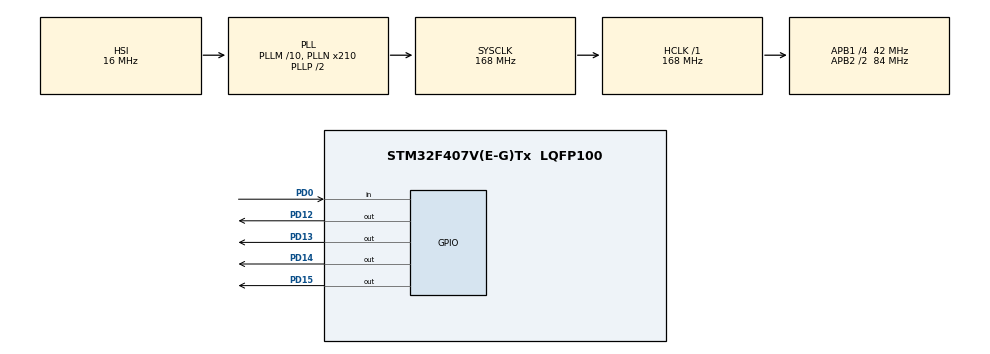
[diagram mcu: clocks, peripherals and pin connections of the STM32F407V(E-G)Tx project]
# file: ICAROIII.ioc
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FREERTOS.INCLUDE_uxTaskGetStackHighWaterMark=1
FREERTOS.Tasks01=defaultTask,0,128,StartDefaultTask
FREERTOS.configMAX_PRIORITIES=32
FREERTOS.configUSE_TIMERS=1
Mcu.Family=STM32F4
Mcu.Name=STM32F407V(E-G)Tx
Mcu.Package=LQFP100
NVIC.PriorityGroup=NVIC_PRIORITYGROUP_4
PD0.Signal=GPIO_Input
PD12.Signal=GPIO_Output
PD13.Signal=GPIO_Output
PD14.Signal=GPIO_Output
PD15.Signal=GPIO_Output
ProjectManager.TargetToolchain=MDK-ARM V5
RCC.48MHZClocksFreq_Value=84000000
RCC.AHBFreq_Value=168000000
RCC.APB1CLKDivider=RCC_HCLK_DIV4
RCC.APB1Freq_Value=42000000
RCC.APB1TimCLKDivider=1
RCC.APB1TimFreq_Value=42000000
RCC.APB2CLKDivider=RCC_HCLK_DIV2
RCC.APB2Freq_Value=84000000
RCC.APB2TimCLKDivider=1
RCC.APB2TimFreq_Value=84000000
RCC.CortexFreq_Value=168000000
RCC.HCLKFreq_Value=168000000
RCC.HSE_VALUE=25000000
RCC.HSI_VALUE=16000000
RCC.LSE_VALUE=32768
RCC.PLLM=10
RCC.PLLN=210
RCC.SYSCLKFreq_VALUE=168000000
RCC.SYSCLKSource=RCC_SYSCLKSOURCE_PLLCLK
RCC.VCOOutputFreq_Value=336000000
VP_FREERTOS_VS_ENABLE.Mode=Enabled
board=ICAROIII

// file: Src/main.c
/**
  ******************************************************************************
  * File Name          : main.c
  * Description        : Main program body
  ******************************************************************************
  *
  * COPYRIGHT(c) 2020 STMicroelectronics
  *
  * Redistribution and use in source and binary forms, with or without modification,
  * are permitted provided that the following conditions are met:
  *   1. Redistributions of source code must retain the above copyright notice,
  *      this list of conditions and the following disclaimer.
  *   2. Redistributions in binary form must reproduce the above copyright notice,
  *      this list of conditions and the following disclaimer in the documentation
  *      and/or other materials provided with the distribution.
  *   3. Neither the name of STMicroelectronics nor the names of its contributors
  *      may be used to endorse or promote products derived from this software
  *      without specific prior written permission.
  *
  * THIS SOFTWARE IS PROVIDED BY THE COPYRIGHT HOLDERS AND CONTRIBUTORS "AS IS"
  * AND ANY EXPRESS OR IMPLIED WARRANTIES, INCLUDING, BUT NOT LIMITED TO, THE
  * IMPLIED WARRANTIES OF MERCHANTABILITY AND FITNESS FOR A PARTICULAR PURPOSE ARE
  * DISCLAIMED. IN NO EVENT SHALL THE COPYRIGHT HOLDER OR CONTRIBUTORS BE LIABLE
  * FOR ANY DIRECT, INDIRECT, INCIDENTAL, SPECIAL, EXEMPLARY, OR CONSEQUENTIAL
  * DAMAGES (INCLUDING, BUT NOT LIMITED TO, PROCUREMENT OF SUBSTITUTE GOODS OR
  * SERVICES; LOSS OF USE, DATA, OR PROFITS; OR BUSINESS INTERRUPTION) HOWEVER
  * CAUSED AND ON ANY THEORY OF LIABILITY, WHETHER IN CONTRACT, STRICT LIABILITY,
  * OR TORT (INCLUDING NEGLIGENCE OR OTHERWISE) ARISING IN ANY WAY OUT OF THE USE
  * OF THIS SOFTWARE, EVEN IF ADVISED OF THE POSSIBILITY OF SUCH DAMAGE.
  *
  ******************************************************************************
  */
#include "stm32f4xx_hal.h"
#include "cmsis_os.h"

osThreadId defaultTaskHandle;

/* USER CODE BEGIN PV */
/* Private variables ---------------------------------------------------------*/

/* USER CODE END PV */

void SystemClock_Config(void);
static void MX_GPIO_Init(void);
void StartDefaultTask(void const * argument);

/* USER CODE BEGIN PFP */
/* Private function prototypes -----------------------------------------------*/

/* USER CODE END PFP */

/* USER CODE BEGIN 0 */
#include <stdio.h>
#include "ICARO3_Onda_bipe_controllonostro_mix_2201.h" /* Model's header file */
#include "rtwtypes.h"                  /* MathWorks types */

//
// FREE RTOS includes
//
#include "mw_cmsis_rtos.h"
#include "task.h"

//
// FREE RTOS includes END
//

/* Real-time model */
extern RT_MODEL_ICARO3_Onda_bipe_controllonostro_mix_2201 *const
  ICARO3_Onda_bipe_controllonostro_mix_2201_M;

/* Set which subrates need to run this base step (base rate always runs).*/
/* Defined in ICARO3_Onda_bipe_controllonostro_mix_2201.c file */
extern void ICARO3_Onda_bipe_controllonostro_mix_2201_SetEventsForThisBaseStep
  (boolean_T*);

/* Flags for taskOverrun */
static boolean_T OverrunFlags[6];

/* Number of auto reload timer rotation computed */
static uint32_t autoReloadTimerLoopVal_S = 1;

/* Remaining number of auto reload timer rotation to do */
static uint32_t remainAutoReloadTimerLoopVal_S = 1;

//
// FREE RTOS definition of variables, tasks functions and support functions
//

//helper functions
void exitTask(int sig);
void terminateTask(void *arg);

//functions implementing base rate and subrates
void baseRateTask(void *arg);
void subrateTask(void *arg);

//support variables
volatile boolean_T runModel = true;    //this must be true as long as the model is running

//mw_semaphore_t stopSem;
mw_semaphore_t baserateTaskSem;        //used to signal the task its start moment has arrived
mw_semaphore_t subrateTaskSem[(6 - 1)];//see above
int taskId[(6)];                       //id of sub rate tasks (id of base rate task is 0
mw_thread_t schedulerThread;
mw_thread_t baseRateThread;
unsigned long threadJoinStatus[(6 - 1)*2];
int terminatingmodel = 0;
mw_thread_t subRateThread[(6 - 1)];
int stato;                             //temporary used to check heap size

//
// DEFINITION OF STACK SIZES FOR EACH SINGLE TASK
//
int32_t BaseRate_stack_size = 896;

//int32_t SubRates_stack_size[(6 - 1)] = {768, 256, 256, 128};
int32_t SubRates_stack_size[8] = { 384, 256, 256, 128, 128, 128, 128, 128 };

//note: must manaully edit here to change the stack width for each single task !!!!
//TODO: find a way to import this from Matlab !!!!!
//stack SIZE left  for all tasks
UBaseType_t BaseRate_emptystacksize;
UBaseType_t SubRate_emptystacksize[(6 - 1)];
void subrateTask(void *arg)
{
  int tid = *((int *) arg);
  int subRateId;
  subRateId = tid;                     //note: now subrate tids start from 1 !!!
  while (runModel) {
    mw_osSemaphoreWaitEver(&subrateTaskSem[tid - 1]);//Dim of tid is 5 but tid[0] is the base rate ID
    HAL_GPIO_TogglePin(GPIOD, GPIO_PIN_15);
    if (terminatingmodel)
      break;

#ifdef MW_RTOS_DEBUG

    printf(" -subrate task %d semaphore received\n", subRateId);

#endif

    ICARO3_Onda_bipe_controllonostro_mix_2201_step(subRateId);
    SubRate_emptystacksize[subRateId-1] = uxTaskGetStackHighWaterMark(NULL);

    /* Get model outputs here */
  }

  mw_osThreadExit((void *)0);
}

void baseRateTask(void *arg)
{
  int_T i;
  runModel = (rtmGetErrorStatus(ICARO3_Onda_bipe_controllonostro_mix_2201_M) ==
              (NULL));
  while (runModel) {
    mw_osSemaphoreWaitEver(&baserateTaskSem);

#ifdef MW_RTOS_DEBUG

    printf("*base rate task semaphore received\n");
    fflush(stdout);

#endif

    for (i = 1; i <= (6 - 1); i++) {
      if (rtmStepTask(ICARO3_Onda_bipe_controllonostro_mix_2201_M, i)) {
        mw_osSemaphoreRelease(&subrateTaskSem[ i - 1
                              ]);
      }
    }

    BaseRate_emptystacksize = uxTaskGetStackHighWaterMark(NULL);
    ICARO3_Onda_bipe_controllonostro_mix_2201_step(0);

    /* Get model outputs here */
    BaseRate_emptystacksize = uxTaskGetStackHighWaterMark(NULL);

    /* Get model outputs here */
    runModel = (rtmGetErrorStatus(ICARO3_Onda_bipe_controllonostro_mix_2201_M) ==
                (NULL));
  }

  terminateTask(arg);
  mw_osThreadExit((void *)0);
}

void exitTask(int sig)
{
  rtmSetErrorStatus(ICARO3_Onda_bipe_controllonostro_mix_2201_M,
                    "stopping the model");
}

void terminateTask(void *arg)
{
  terminatingmodel = 1;
  printf("**terminating the model**\n");
  fflush(stdout);

  {
    int ret;
    int i;

    /* Signal all periodic tasks to complete */
    for (i=0; i<(6 - 1); i++) {
      CHECK_STATUS(mw_osSemaphoreRelease(&subrateTaskSem[i]), 0,
                   "mw_osSemaphoreRelease");
      CHECK_STATUS(mw_osSemaphoreDelete(&subrateTaskSem[i]), 0,
                   "mw_osSemaphoreDelete");
    }

    /* Wait for all periodic tasks to complete */
    for (i=0; i<(6 - 1); i++) {
      ret = mw_osThreadJoin(subRateThread[i], (void *)&threadJoinStatus);
      CHECK_STATUS(ret, 0, "mw_osThreadJoin");
    }

    runModel = 0;
  }

  /* Terminate model */
  //stm32f4discovery_gettingstarted_terminate(); // REMOVED !
  // mw_osSemaphoreRelease(&stopSem);
}

//void stm32f4xx_init_board(void)
//{
//	/* Enable double word stack alignment */
//	SCB->CCR |= SCB_CCR_STKALIGN_Msk;

//	#if MW_MULTI_TASKING_MODE == 1
//    /* Set the interrupt priority at highest */
//    NVIC_SetPriority(SVCall_IRQn, 0x0);
//    #endif
//
//    #if defined(MW_ENABLE_CLOCK_TO_I2S) && (MW_ENABLE_CLOCK_TO_I2S == 1)
//    MW_I2S_Clock_config((uint32_t)MW_I2S_CLOCK_PLLN, (uint32_t)MW_I2S_CLOCK_PLLR);
//    #endif
//}

//
// FREE RTOS definition of variables, tasks functions and support functions END
//

/* USER CODE END 0 */

int main(void)
{

  /* USER CODE BEGIN 1 */
  /* Data initialization */
  int_T i;
  boolean_T eventFlags[6];             /* Model has 6 rates */

  /* USER CODE END 1 */

  /* MCU Configuration----------------------------------------------------------*/

  /* Reset of all peripherals, Initializes the Flash interface and the Systick. */
  HAL_Init();

  /* Configure the system clock */
  SystemClock_Config();

  /* Initialize all configured peripherals */
  MX_GPIO_Init();

  /* USER CODE BEGIN 2 */
  /* Systick configuration and enable SysTickHandler interrupt */

  /* REMOVED !
     if (SysTick_Config((uint32_t)(SystemCoreClock * 0.001)))
     {
     autoReloadTimerLoopVal_S = 1;
     do {
     autoReloadTimerLoopVal_S++;
     } while((uint32_t)(SystemCoreClock * 0.001)/autoReloadTimerLoopVal_S > SysTick_LOAD_RELOAD_Msk);
     SysTick_Config((uint32_t)(SystemCoreClock * 0.001)/autoReloadTimerLoopVal_S);
     }
     remainAutoReloadTimerLoopVal_S = autoReloadTimerLoopVal_S; //Set nb of loop to do
   */

  //
  // FREE RTOS initialization: creation of tasks, semaphores and scheduler timer
  //

  /* Model initialization call */
  ICARO3_Onda_bipe_controllonostro_mix_2201_initialize();

  //note: must call model initialize here

  /* Call RTOS Initialization function */
  //traceSTART function defined in simple_trace.c --> useful for trace debug
  traceSTART();
  mw_RTOSInit(0.001, (6 - 1), BaseRate_stack_size, SubRates_stack_size );
  stato = xPortGetFreeHeapSize();      //debug: read heap left space

  //
  // FREE RTOS initialization: creation of tasks, semaphores and scheduler timer END
  //

  /* USER CODE END 2 */

  /* Create the thread(s) */
  /* definition and creation of defaultTask */
  /* COMMENTATO IN "C:\Program Files (x86)\STMicroelectronics\STM32Cube\STM32CubeMX\db\templates\freertos_init_c.ftl" : start*/
  /*osThreadDef(defaultTask, StartDefaultTask, osPriorityNormal, 0, 128);*/
  /*defaultTaskHandle = osThreadCreate(osThread(defaultTask), NULL);*/
  /* COMMENTO. In questo modo non viene creato il default task : end */

  /* Start scheduler */
  osKernelStart();

  /* We should never get here as control is now taken by the scheduler */

  /* Infinite loop */
  /* USER CODE BEGIN WHILE */
  for (i=0;i<6;i++) {
    OverrunFlags[i] = 0;
  }

  /* Model initialization call */
  ICARO3_Onda_bipe_controllonostro_mix_2201_initialize();

  /* Infinite loop */
  /* Real time from systickHandler */
  while (1) {
    /*Process tasks every solver time*/
    if (remainAutoReloadTimerLoopVal_S == 0) {
      remainAutoReloadTimerLoopVal_S = autoReloadTimerLoopVal_S;

      /* Check base rate for overrun */
      if (OverrunFlags[0]) {
        rtmSetErrorStatus(ICARO3_Onda_bipe_controllonostro_mix_2201_M, "Overrun");
      }

      OverrunFlags[0] = true;

      /*
       * For a bare-board target (i.e., no operating system), the rates
       * that execute this base step are buffered locally to allow for
       * overlapping preemption.  The generated code includes function
       * writeCodeInfoFcn() which sets the rates
       * that need to run this time step.  The return values are 1 and 0
       * for true and false, respectively.
       */
      ICARO3_Onda_bipe_controllonostro_mix_2201_SetEventsForThisBaseStep
        (eventFlags);

      /* Step the model for base rate */
      ICARO3_Onda_bipe_controllonostro_mix_2201_step(0);

      /* Get model outputs here */

      /* Indicate task for base rate complete */
      OverrunFlags[0] = false;

      /* Step the model for any subrate */
      for (i = 1; i < 6; i++) {
        if (eventFlags[i]) {
          if (OverrunFlags[i]) {
            rtmSetErrorStatus(ICARO3_Onda_bipe_controllonostro_mix_2201_M,
                              "Overrun");
          }

          OverrunFlags[i] = true;

          /* Step the model for subrate "i" */
          ICARO3_Onda_bipe_controllonostro_mix_2201_step(i);

          /* Indicate task complete for sample time "i" */
          OverrunFlags[i] = false;
        }
      }
    }
  }

  /* USER CODE END WHILE */

}

/** System Clock Configuration
*/
void SystemClock_Config(void)
{

  RCC_OscInitTypeDef RCC_OscInitStruct;
  RCC_ClkInitTypeDef RCC_ClkInitStruct;

  __PWR_CLK_ENABLE();

  __HAL_PWR_VOLTAGESCALING_CONFIG(PWR_REGULATOR_VOLTAGE_SCALE1);

  RCC_OscInitStruct.OscillatorType = RCC_OSCILLATORTYPE_HSI;
  RCC_OscInitStruct.HSIState = RCC_HSI_ON;
  RCC_OscInitStruct.HSICalibrationValue = 16;
  RCC_OscInitStruct.PLL.PLLState = RCC_PLL_ON;
  RCC_OscInitStruct.PLL.PLLSource = RCC_PLLSOURCE_HSI;
  RCC_OscInitStruct.PLL.PLLM = 10;
  RCC_OscInitStruct.PLL.PLLN = 210;
  RCC_OscInitStruct.PLL.PLLP = RCC_PLLP_DIV2;
  RCC_OscInitStruct.PLL.PLLQ = 4;
  HAL_RCC_OscConfig(&RCC_OscInitStruct);

  RCC_ClkInitStruct.ClockType = RCC_CLOCKTYPE_SYSCLK|RCC_CLOCKTYPE_PCLK1
                              |RCC_CLOCKTYPE_PCLK2;
  RCC_ClkInitStruct.SYSCLKSource = RCC_SYSCLKSOURCE_PLLCLK;
  RCC_ClkInitStruct.AHBCLKDivider = RCC_SYSCLK_DIV1;
  RCC_ClkInitStruct.APB1CLKDivider = RCC_HCLK_DIV4;
  RCC_ClkInitStruct.APB2CLKDivider = RCC_HCLK_DIV2;
  HAL_RCC_ClockConfig(&RCC_ClkInitStruct, FLASH_LATENCY_5);

  HAL_SYSTICK_Config(HAL_RCC_GetHCLKFreq()/1000);

  HAL_SYSTICK_CLKSourceConfig(SYSTICK_CLKSOURCE_HCLK);

}

/** Configure pins as
        * Analog
        * Input
        * Output
        * EVENT_OUT
        * EXTI
*/
void MX_GPIO_Init(void)
{

  GPIO_InitTypeDef GPIO_InitStruct;

  /* GPIO Ports Clock Enable */
  __GPIOD_CLK_ENABLE();

  /*Configure GPIO pins : PD12 PD13 PD14 PD15 */
  GPIO_InitStruct.Pin = GPIO_PIN_12|GPIO_PIN_13|GPIO_PIN_14|GPIO_PIN_15;
  GPIO_InitStruct.Mode = GPIO_MODE_OUTPUT_PP;
  GPIO_InitStruct.Pull = GPIO_NOPULL;
  GPIO_InitStruct.Speed = GPIO_SPEED_LOW;
  HAL_GPIO_Init(GPIOD, &GPIO_InitStruct);

  /*Configure GPIO pin : PD0 */
  GPIO_InitStruct.Pin = GPIO_PIN_0;
  GPIO_InitStruct.Mode = GPIO_MODE_INPUT;
  GPIO_InitStruct.Pull = GPIO_NOPULL;
  HAL_GPIO_Init(GPIOD, &GPIO_InitStruct);

}

/* USER CODE BEGIN 4 */
/****************************************************
   SysTick_Handler callback function
   This handler is called every tick and schedules tasks
 *****************************************************/
void HAL_SYSTICK_Callback(void)
{
  /* For TIME OUT processing */
  HAL_IncTick();

  /* Manage nb of loop before interrupt has to be processed */
  //removed
  //if( remainAutoReloadTimerLoopVal_S) {
  //	remainAutoReloadTimerLoopVal_S--;
  //}
}

/* USER CODE END 4 */

/* StartDefaultTask function */
void StartDefaultTask(void const * argument)
{

  for(;;)
  {
    osDelay(1);
  }
}

/************************ (C) COPYRIGHT STMicroelectronics *****END OF FILE****/
